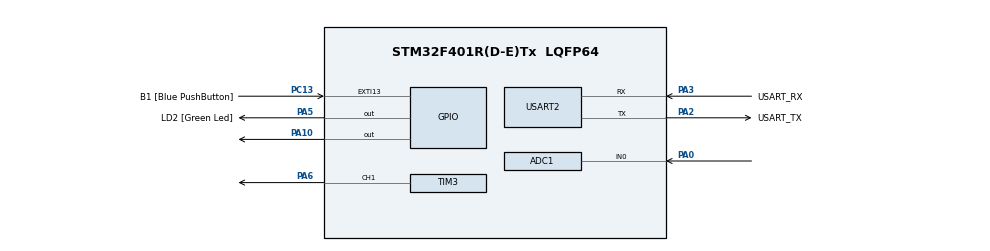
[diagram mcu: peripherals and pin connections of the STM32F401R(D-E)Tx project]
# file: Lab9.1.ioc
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ADC1.Channel-1\#ChannelRegularConversion=ADC_CHANNEL_0
ADC1.ContinuousConvMode=ENABLE
ADC1.EOCSelection=ADC_EOC_SEQ_CONV
ADC1.NbrOfConversion=1
ADC1.NbrOfConversionFlag=1
ADC1.Rank-1\#ChannelRegularConversion=1
ADC1.Resolution=ADC_RESOLUTION_8B
ADC1.SamplingTime-1\#ChannelRegularConversion=ADC_SAMPLETIME_3CYCLES
ADC1.master=1
Mcu.Family=STM32F4
Mcu.Name=STM32F401R(D-E)Tx
Mcu.Package=LQFP64
NVIC.PriorityGroup=NVIC_PRIORITYGROUP_4
NVIC.TIM3_IRQn=true\:0\:0\:false\:false\:true\:true\:true\:true
PA0-WKUP.Signal=ADCx_IN0
PA10.Signal=GPIO_Output
PA13.GPIO_Label=TMS
PA13.Mode=Trace_Asynchronous_SW
PA13.Signal=SYS_JTMS-SWDIO
PA14.GPIO_Label=TCK
PA14.Mode=Trace_Asynchronous_SW
PA14.Signal=SYS_JTCK-SWCLK
PA2.GPIO_Label=USART_TX
PA2.GPIO_Mode=GPIO_MODE_AF_PP
PA2.GPIO_PuPd=GPIO_NOPULL
PA2.GPIO_Speed=GPIO_SPEED_FREQ_LOW
PA2.Mode=Asynchronous
PA2.Signal=USART2_TX
PA3.GPIO_Label=USART_RX
PA3.GPIO_Mode=GPIO_MODE_AF_PP
PA3.GPIO_PuPd=GPIO_NOPULL
PA3.GPIO_Speed=GPIO_SPEED_FREQ_LOW
PA3.Mode=Asynchronous
PA3.Signal=USART2_RX
PA5.GPIO_Label=LD2 [Green Led]
PA5.GPIO_Mode=GPIO_MODE_OUTPUT_PP
PA5.GPIO_PuPd=GPIO_NOPULL
PA5.GPIO_Speed=GPIO_SPEED_FREQ_LOW
PA5.Signal=GPIO_Output
PA6.Signal=S_TIM3_CH1
PB3.GPIO_Label=SWO
PB3.Mode=Trace_Asynchronous_SW
PB3.Signal=SYS_JTDO-SWO
PC13-ANTI_TAMP.GPIO_Label=B1 [Blue PushButton]
PC13-ANTI_TAMP.GPIO_ModeDefaultEXTI=GPIO_MODE_IT_FALLING
PC13-ANTI_TAMP.GPIO_PuPd=GPIO_NOPULL
PC13-ANTI_TAMP.Signal=GPXTI13
PC14-OSC32_IN.Mode=LSE-External-Oscillator
PC14-OSC32_IN.Signal=RCC_OSC32_IN
PC15-OSC32_OUT.Mode=LSE-External-Oscillator
PC15-OSC32_OUT.Signal=RCC_OSC32_OUT
PH0\ -\ OSC_IN.Mode=HSE-External-Clock-Source
PH0\ -\ OSC_IN.Signal=RCC_OSC_IN
PH1\ -\ OSC_OUT.Mode=HSE-External-Clock-Source
PH1\ -\ OSC_OUT.Signal=RCC_OSC_OUT
ProjectManager.HeapSize=0x200
ProjectManager.StackSize=0x400
ProjectManager.TargetToolchain=STM32CubeIDE
RCC.48MHZClocksFreq_Value=48000000
RCC.AHBFreq_Value=84000000
RCC.APB1CLKDivider=RCC_HCLK_DIV2
RCC.APB1Freq_Value=42000000
RCC.APB1TimFreq_Value=84000000
RCC.APB2Freq_Value=84000000
RCC.APB2TimFreq_Value=84000000
RCC.CortexFreq_Value=84000000
RCC.HCLKFreq_Value=84000000
RCC.HSE_VALUE=8000000
RCC.HSI_VALUE=16000000
RCC.PLLN=336
RCC.PLLP=RCC_PLLP_DIV4
RCC.PLLQ=7
RCC.SYSCLKFreq_VALUE=84000000
RCC.SYSCLKSource=RCC_SYSCLKSOURCE_PLLCLK
RCC.VCOOutputFreq_Value=336000000
SH.ADCx_IN0.0=ADC1_IN0,IN0
SH.S_TIM3_CH1.0=TIM3_CH1,Output Compare1 CH1
TIM3.Channel-Output\ Compare1\ CH1=TIM_CHANNEL_1
USART2.VirtualMode=VM_ASYNC
VP_TIM3_VS_ClockSourceINT.Mode=Internal
board=NUCLEO-F401RE

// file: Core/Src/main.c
/* USER CODE BEGIN Header */
/**
 ******************************************************************************
 * @file           : main.c
 * @brief          : Main program body
 ******************************************************************************
 * @attention
 *
 * Copyright (c) 2025 STMicroelectronics.
 * All rights reserved.
 *
 * This software is licensed under terms that can be found in the LICENSE file
 * in the root directory of this software component.
 * If no LICENSE file comes with this software, it is provided AS-IS.
 *
 ******************************************************************************
 */
/* USER CODE END Header */
#include "main.h"

/* USER CODE BEGIN PD */
#define MIN_FREQ_INC 625
#define MAX_FREQ_INC 111
/* USER CODE END PD */

/* USER CODE BEGIN PV */
uint16_t timeInterval;
/* USER CODE END PV */

void SystemClock_Config(void);
static void MX_GPIO_Init(void);
static void MX_USART2_UART_Init(void);
static void MX_TIM3_Init(void);
static void MX_ADC1_Init(void);

int main(void)
{

  /* MCU Configuration--------------------------------------------------------*/

  /* Reset of all peripherals, Initializes the Flash interface and the Systick. */
  LL_APB2_GRP1_EnableClock(LL_APB2_GRP1_PERIPH_SYSCFG);
  LL_APB1_GRP1_EnableClock(LL_APB1_GRP1_PERIPH_PWR);

  /* System interrupt init*/
  NVIC_SetPriorityGrouping(NVIC_PRIORITYGROUP_1);

  /* Configure the system clock */
  SystemClock_Config();

  /* Initialize all configured peripherals */
  MX_GPIO_Init();
  MX_USART2_UART_Init();
  MX_TIM3_Init();
  MX_ADC1_Init();
  /* USER CODE BEGIN 2 */
	LL_TIM_WriteReg(TIM3, PSC, 83);			// 61 in decimal
	//LL_TIM_WriteReg(TIM3, PSC, 42000);		// Debug purposes
	LL_TIM_WriteReg(TIM3, ARR, 0xFFFF);			// 999 in decimal
	LL_TIM_WriteReg(TIM3, DIER, LL_TIM_ReadReg(TIM3,DIER) | 0b010);
	LL_TIM_WriteReg(TIM3, CCER, LL_TIM_ReadReg(TIM3, CCER) | 0x01);
	//LL_TIM_WriteReg(TIM3, CCR1, 800);
	LL_TIM_WriteReg(TIM3, CCR1, 0);
	//LL_TIM_WriteReg(TIM3, CCMR1, LL_TIM_ReadReg(TIM3, CCMR1) | 0b010110000);

	LL_ADC_WriteReg(ADC1, CR2, LL_ADC_ReadReg(ADC1,CR2) | 0x01);
	LL_ADC_WriteReg(ADC1, CR2, LL_ADC_ReadReg(ADC1,CR2) | (1 << 30));
	uint8_t voltage;

	LL_TIM_WriteReg(TIM3, CR1, LL_TIM_ReadReg(TIM3,CR1) | 0x01);
  /* USER CODE END 2 */

  /* Infinite loop */
  /* USER CODE BEGIN WHILE */
	SysTick_Config(SystemCoreClock / 1000);
	while (1) {
		// Check for ADC_EOC
		if ((LL_ADC_ReadReg(ADC1,SR) & 0x02) == 0x02) {
			voltage = LL_ADC_ReadReg(ADC1, DR) & 0x00FF;	// Get converted value
			timeInterval = MIN_FREQ_INC
								+ ((MAX_FREQ_INC - MIN_FREQ_INC) * voltage) / 255;	// Compute interval
			//timeInterval = 1000;

			LL_ADC_WriteReg(ADC1, SR, LL_ADC_ReadReg(ADC1,SR) & (~0x02));	// Clear EOC
		}
    /* USER CODE END WHILE */

	}
}

void SystemClock_Config(void)
{
  LL_FLASH_SetLatency(LL_FLASH_LATENCY_2);
  while(LL_FLASH_GetLatency()!= LL_FLASH_LATENCY_2)
  {
  }
  LL_PWR_SetRegulVoltageScaling(LL_PWR_REGU_VOLTAGE_SCALE2);
  LL_RCC_HSI_SetCalibTrimming(16);
  LL_RCC_HSI_Enable();

   /* Wait till HSI is ready */
  while(LL_RCC_HSI_IsReady() != 1)
  {

  }
  LL_RCC_PLL_ConfigDomain_SYS(LL_RCC_PLLSOURCE_HSI, LL_RCC_PLLM_DIV_16, 336, LL_RCC_PLLP_DIV_4);
  LL_RCC_PLL_Enable();

   /* Wait till PLL is ready */
  while(LL_RCC_PLL_IsReady() != 1)
  {

  }
  while (LL_PWR_IsActiveFlag_VOS() == 0)
  {
  }
  LL_RCC_SetAHBPrescaler(LL_RCC_SYSCLK_DIV_1);
  LL_RCC_SetAPB1Prescaler(LL_RCC_APB1_DIV_2);
  LL_RCC_SetAPB2Prescaler(LL_RCC_APB2_DIV_1);
  LL_RCC_SetSysClkSource(LL_RCC_SYS_CLKSOURCE_PLL);

   /* Wait till System clock is ready */
  while(LL_RCC_GetSysClkSource() != LL_RCC_SYS_CLKSOURCE_STATUS_PLL)
  {

  }
  LL_Init1msTick(84000000);
  LL_SetSystemCoreClock(84000000);
  LL_RCC_SetTIMPrescaler(LL_RCC_TIM_PRESCALER_TWICE);
}

static void MX_ADC1_Init(void)
{

  LL_ADC_InitTypeDef ADC_InitStruct = {0};
  LL_ADC_REG_InitTypeDef ADC_REG_InitStruct = {0};
  LL_ADC_CommonInitTypeDef ADC_CommonInitStruct = {0};

  LL_GPIO_InitTypeDef GPIO_InitStruct = {0};

  /* Peripheral clock enable */
  LL_APB2_GRP1_EnableClock(LL_APB2_GRP1_PERIPH_ADC1);

  LL_AHB1_GRP1_EnableClock(LL_AHB1_GRP1_PERIPH_GPIOA);
  /**ADC1 GPIO Configuration
  PA0-WKUP   ------> ADC1_IN0
  */
  GPIO_InitStruct.Pin = LL_GPIO_PIN_0;
  GPIO_InitStruct.Mode = LL_GPIO_MODE_ANALOG;
  GPIO_InitStruct.Pull = LL_GPIO_PULL_NO;
  LL_GPIO_Init(GPIOA, &GPIO_InitStruct);

  /** Common config
  */
  ADC_InitStruct.Resolution = LL_ADC_RESOLUTION_8B;
  ADC_InitStruct.DataAlignment = LL_ADC_DATA_ALIGN_RIGHT;
  ADC_InitStruct.SequencersScanMode = LL_ADC_SEQ_SCAN_DISABLE;
  LL_ADC_Init(ADC1, &ADC_InitStruct);
  ADC_REG_InitStruct.TriggerSource = LL_ADC_REG_TRIG_SOFTWARE;
  ADC_REG_InitStruct.SequencerLength = LL_ADC_REG_SEQ_SCAN_DISABLE;
  ADC_REG_InitStruct.SequencerDiscont = LL_ADC_REG_SEQ_DISCONT_DISABLE;
  ADC_REG_InitStruct.ContinuousMode = LL_ADC_REG_CONV_CONTINUOUS;
  ADC_REG_InitStruct.DMATransfer = LL_ADC_REG_DMA_TRANSFER_NONE;
  LL_ADC_REG_Init(ADC1, &ADC_REG_InitStruct);
  LL_ADC_REG_SetFlagEndOfConversion(ADC1, LL_ADC_REG_FLAG_EOC_SEQUENCE_CONV);
  ADC_CommonInitStruct.CommonClock = LL_ADC_CLOCK_SYNC_PCLK_DIV4;
  LL_ADC_CommonInit(__LL_ADC_COMMON_INSTANCE(ADC1), &ADC_CommonInitStruct);

  /** Configure Regular Channel
  */
  LL_ADC_REG_SetSequencerRanks(ADC1, LL_ADC_REG_RANK_1, LL_ADC_CHANNEL_0);
  LL_ADC_SetChannelSamplingTime(ADC1, LL_ADC_CHANNEL_0, LL_ADC_SAMPLINGTIME_3CYCLES);

}

static void MX_TIM3_Init(void)
{

  LL_TIM_InitTypeDef TIM_InitStruct = {0};
  LL_TIM_OC_InitTypeDef TIM_OC_InitStruct = {0};

  /* Peripheral clock enable */
  LL_APB1_GRP1_EnableClock(LL_APB1_GRP1_PERIPH_TIM3);

  /* TIM3 interrupt Init */
  //NVIC_SetPriority(TIM3_IRQn, NVIC_EncodePriority(NVIC_GetPriorityGrouping(),1, 0)); // Pre-empitive 0
  NVIC_SetPriority(TIM3_IRQn,
          NVIC_EncodePriority(NVIC_GetPriorityGrouping(),1, 0)); // Pre-empitive 1
  NVIC_EnableIRQ(TIM3_IRQn);

  TIM_InitStruct.Prescaler = 0;
  TIM_InitStruct.CounterMode = LL_TIM_COUNTERMODE_UP;
  TIM_InitStruct.Autoreload = 65535;
  TIM_InitStruct.ClockDivision = LL_TIM_CLOCKDIVISION_DIV1;
  LL_TIM_Init(TIM3, &TIM_InitStruct);
  LL_TIM_DisableARRPreload(TIM3);
  LL_TIM_SetClockSource(TIM3, LL_TIM_CLOCKSOURCE_INTERNAL);
  TIM_OC_InitStruct.OCMode = LL_TIM_OCMODE_FROZEN;
  TIM_OC_InitStruct.OCState = LL_TIM_OCSTATE_DISABLE;
  TIM_OC_InitStruct.OCNState = LL_TIM_OCSTATE_DISABLE;
  TIM_OC_InitStruct.CompareValue = 0;
  TIM_OC_InitStruct.OCPolarity = LL_TIM_OCPOLARITY_HIGH;
  LL_TIM_OC_Init(TIM3, LL_TIM_CHANNEL_CH1, &TIM_OC_InitStruct);
  LL_TIM_OC_DisableFast(TIM3, LL_TIM_CHANNEL_CH1);
  LL_TIM_SetTriggerOutput(TIM3, LL_TIM_TRGO_RESET);
  LL_TIM_DisableMasterSlaveMode(TIM3);

}

static void MX_USART2_UART_Init(void)
{

  LL_USART_InitTypeDef USART_InitStruct = {0};

  LL_GPIO_InitTypeDef GPIO_InitStruct = {0};

  /* Peripheral clock enable */
  LL_APB1_GRP1_EnableClock(LL_APB1_GRP1_PERIPH_USART2);

  LL_AHB1_GRP1_EnableClock(LL_AHB1_GRP1_PERIPH_GPIOA);
  /**USART2 GPIO Configuration
  PA2   ------> USART2_TX
  PA3   ------> USART2_RX
  */
  GPIO_InitStruct.Pin = USART_TX_Pin|USART_RX_Pin;
  GPIO_InitStruct.Mode = LL_GPIO_MODE_ALTERNATE;
  GPIO_InitStruct.Speed = LL_GPIO_SPEED_FREQ_LOW;
  GPIO_InitStruct.OutputType = LL_GPIO_OUTPUT_PUSHPULL;
  GPIO_InitStruct.Pull = LL_GPIO_PULL_NO;
  GPIO_InitStruct.Alternate = LL_GPIO_AF_7;
  LL_GPIO_Init(GPIOA, &GPIO_InitStruct);

  USART_InitStruct.BaudRate = 115200;
  USART_InitStruct.DataWidth = LL_USART_DATAWIDTH_8B;
  USART_InitStruct.StopBits = LL_USART_STOPBITS_1;
  USART_InitStruct.Parity = LL_USART_PARITY_NONE;
  USART_InitStruct.TransferDirection = LL_USART_DIRECTION_TX_RX;
  USART_InitStruct.HardwareFlowControl = LL_USART_HWCONTROL_NONE;
  USART_InitStruct.OverSampling = LL_USART_OVERSAMPLING_16;
  LL_USART_Init(USART2, &USART_InitStruct);
  LL_USART_ConfigAsyncMode(USART2);
  LL_USART_Enable(USART2);

}

static void MX_GPIO_Init(void)
{
  LL_EXTI_InitTypeDef EXTI_InitStruct = {0};
  LL_GPIO_InitTypeDef GPIO_InitStruct = {0};

  /* GPIO Ports Clock Enable */
  LL_AHB1_GRP1_EnableClock(LL_AHB1_GRP1_PERIPH_GPIOC);
  LL_AHB1_GRP1_EnableClock(LL_AHB1_GRP1_PERIPH_GPIOH);
  LL_AHB1_GRP1_EnableClock(LL_AHB1_GRP1_PERIPH_GPIOA);
  LL_AHB1_GRP1_EnableClock(LL_AHB1_GRP1_PERIPH_GPIOB);

  /**/
  LL_GPIO_ResetOutputPin(GPIOA, LD2_Pin|OUT1_Pin);

  /**/
  LL_SYSCFG_SetEXTISource(LL_SYSCFG_EXTI_PORTC, LL_SYSCFG_EXTI_LINE13);

  /**/
  EXTI_InitStruct.Line_0_31 = LL_EXTI_LINE_13;
  EXTI_InitStruct.LineCommand = ENABLE;
  EXTI_InitStruct.Mode = LL_EXTI_MODE_IT;
  EXTI_InitStruct.Trigger = LL_EXTI_TRIGGER_FALLING;
  LL_EXTI_Init(&EXTI_InitStruct);

  /**/
  LL_GPIO_SetPinPull(B1_GPIO_Port, B1_Pin, LL_GPIO_PULL_NO);

  /**/
  LL_GPIO_SetPinMode(B1_GPIO_Port, B1_Pin, LL_GPIO_MODE_INPUT);

  /**/
  GPIO_InitStruct.Pin = LD2_Pin|OUT1_Pin;
  GPIO_InitStruct.Mode = LL_GPIO_MODE_OUTPUT;
  GPIO_InitStruct.Speed = LL_GPIO_SPEED_FREQ_LOW;
  GPIO_InitStruct.OutputType = LL_GPIO_OUTPUT_PUSHPULL;
  GPIO_InitStruct.Pull = LL_GPIO_PULL_NO;
  LL_GPIO_Init(GPIOA, &GPIO_InitStruct);

}

void Error_Handler(void)
{
	__disable_irq();
	while (1) {
	}
}
